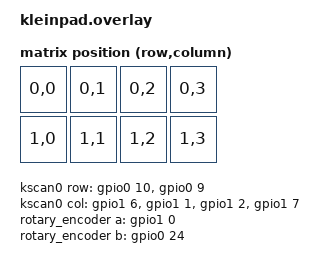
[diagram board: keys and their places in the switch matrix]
#include <dt-bindings/zmk/matrix_transform.h>
&i2c0 {
    status = "okay";

    oled: ssd1306@3c {
        compatible = "solomon,ssd1306fb";
        reg = <0x3c>;
        label = "DISPLAY";
        width = <128>;
        height = <32>;
        segment-offset = <0>;
        page-offset = <0>;
        display-offset = <0>;
        multiplex-ratio = <31>;
        segment-remap;
        com-invdir;
        com-sequential;
        prechargep = <0x22>;
        inversion-on;
    };
};


/ {

    chosen {
        zmk,kscan = &kscan0;
        zmk,matrix-transform = &default_transform;
        // Other chosen items
        zephyr,display = &oled;
    };

    aliases {
        led-red = &led0;
        led-green = &led1;
        led-blue = &led2;
    };

    kscan0: kscan0 {
        compatible = "zmk,kscan-gpio-matrix";
        wakeup-source;
        col-gpios
            = <&gpio1 6 (GPIO_ACTIVE_LOW | GPIO_PULL_UP)>
            , <&gpio1 1 (GPIO_ACTIVE_LOW | GPIO_PULL_UP)>
            , <&gpio1 2 (GPIO_ACTIVE_LOW | GPIO_PULL_UP)>
            , <&gpio1 7 (GPIO_ACTIVE_LOW | GPIO_PULL_UP)>
            ;
        row-gpios
            = <&gpio0 10  (GPIO_ACTIVE_LOW | GPIO_PULL_UP)>
            , <&gpio0 9  (GPIO_ACTIVE_LOW | GPIO_PULL_UP)>
            ;
    };

    default_transform: keymap_transform0 {
        compatible = "zmk,matrix-transform";
        columns = <4>; // Length of the "col-gpios" array
        rows = <2>; // Length of the "row-gpios" array
        map = <
            RC(0,0) RC(0,1) RC(0,2) RC(0,3)
            RC(1,0) RC(1,1) RC(1,2) RC(1,3)
        >;
    };

    rotary_encoder: encoder0 {
        compatible = "alps,ec11";
        a-gpios = <&gpio1 0 (GPIO_ACTIVE_HIGH | GPIO_PULL_UP)>;
        b-gpios = <&gpio0 24 (GPIO_ACTIVE_HIGH | GPIO_PULL_UP)>;
        steps = <24>;
        status = "okay";
    };

    sensors: sensors {
        compatible = "zmk,keymap-sensors";
        sensors = <&rotary_encoder>;
        triggers-per-rotation = <12>;
    };

    leds {
        compatible = "gpio-leds";
        status = "okay";
        led0: led_0 {
            gpios = <&gpio0 31 GPIO_ACTIVE_LOW>;  // red LED, connected to P0.31
        };
        led1: led_1 {
            gpios = <&gpio0 29 GPIO_ACTIVE_LOW>;  // green LED, connected to P0.29
        };
        led2: led_2 {
            gpios = <&gpio0 2 GPIO_ACTIVE_LOW>;  // blue LED, connected to P0.02
        };
    };

    soft_off_wakers {
        compatible = "zmk,soft-off-wakeup-sources";
        wakeup-sources = <&kscan0>;
    };
};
